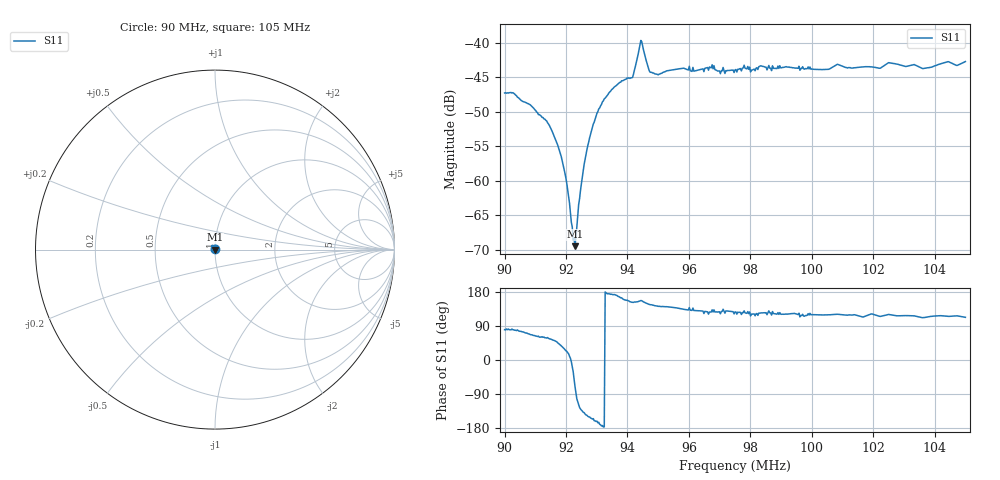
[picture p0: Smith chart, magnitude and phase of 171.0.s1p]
# HZ S RI R 50
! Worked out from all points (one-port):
!   505 points, 90 MHz to 105 MHz, reference 50 ohm
!   lowest |S11| = -69.5 dB at 92.29 MHz (marker M1), VSWR 1.00, Z = 50 - j0.0316 ohm
!   |S11| at or under -10 dB: start of sweep to end of sweep
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9e7  0.000754 0.00426
9.032738e7  0.000842 0.00417
9.136905e7  0.00144 0.0023
9.166667e7  0.00127 0.00149
9.187501e7  0.00114 0.0008
9.205358e7  0.000812 0.000288
9.223215e7  0.000318 -0.000189
9.229167e7  0.000114 -0.000315
9.23512e7  -9.97e-05 -0.000451
9.247025e7  -0.000538 -0.00066
9.255953e7  -0.000878 -0.000793
9.282739e7  -0.00207 -0.001
9.318453e7  -0.00371 -0.000463
9.375001e7  -0.00501 0.00127
9.413692e7  -0.00494 0.00259
9.443454e7  -0.00957 0.00408
9.476192e7  -0.00504 0.00345
9.562502e7  -0.00473 0.00439
9.675597e7  -0.00468 0.00512
9.696431e7  -0.00377 0.00499
9.750002e7  -0.00382 0.0051
9.937503e7  -0.00351 0.00558
1.0125e8  -0.00321 0.00578
1.022024e8  -0.0028 0.00591
1.025298e8  -0.00356 0.00621
1.03125e8  -0.00308 0.00604
1.036608e8  -0.00245 0.00605
1.05e8  -0.00282 0.00675
